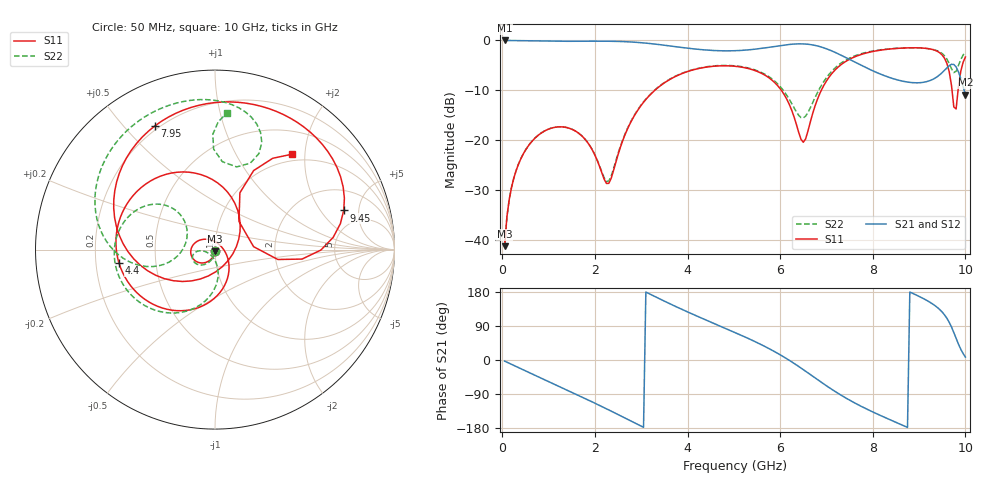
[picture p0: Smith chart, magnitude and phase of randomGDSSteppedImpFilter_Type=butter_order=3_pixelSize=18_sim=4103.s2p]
! freq	dB(S11)	phase(S11)	dB(S12)	phase(S12)
!  dB(S21)	phase(S21)	dB(S22)	phase(S22)
!S-par simulation data
#  GHz  S  DB  R 50
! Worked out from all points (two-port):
!   200 points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, 50 MHz to 10 GHz, reference 50 ohm
!   highest |S21| = 0.00 dB at 50 MHz (marker M1); lowest = -10.8 dB at 10 GHz (marker M2)
!   |S21| within 3 dB of the highest: start of sweep to 7.325 GHz
!   lowest |S11| = -41.2 dB at 50 MHz (marker M3), VSWR 1.02, Z = 50 - j0.869 ohm
!   |S11| at or under -10 dB: start of sweep to 3.292 GHz; 6.026 GHz to 6.889 GHz (862.9 MHz wide, 13.4 % of centre); 9.711 GHz to 9.841 GHz (130 MHz wide, 1.33 % of centre)
!   |S22| runs from -41.2 to -1.5 dB; largest |S21 - S12| = 0
!   S11 on the Smith chart (normalised r, x): 50 MHz: 1.00, -0.02; 4.4 GHz: 0.30, -0.06; 7.95 GHz: 0.18, +0.61; 9.45 GHz: 3.43, +3.42; 10 GHz: 0.88, +1.74
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0.05  -41.22 -91.6  -0.00 -2.9  -0.00 -2.9  -41.21 -91.2
0.2  -29.41 -102.5  -0.02 -11.5  -0.02 -11.5  -29.40 -100.3
0.55  -21.28 -124.9  -0.07 -31.5  -0.07 -31.5  -21.27 -119.0
1.15  -17.38 -163.3  -0.16 -65.4  -0.16 -65.4  -17.37 -148.8
1.75  -19.43 153.1  -0.16 -99.5  -0.16 -99.5  -19.41 -173.0
2.3  -28.63 37.3  -0.16 -131.8  -0.16 -131.8  -28.15 -122.0
2.8  -15.92 -62.4  -0.32 -162.3  -0.32 -162.3  -15.82 -84.5
3.4  -9.17 -108.8  -0.84 161.2  -0.84 161.2  -9.10 -110.2
4.4  -5.35 -171.9  -1.92 105.4  -1.92 105.4  -5.29 -157.3
5.05  -5.20 149.3  -2.05 71.2  -2.05 71.2  -5.11 174.4
5.6  -6.60 112.4  -1.59 40.0  -1.59 40.0  -6.44 150.9
6.1  -11.05 66.7  -0.91 6.5  -0.91 6.5  -10.41 134.8
6.5  -20.40 -39.6  -0.70 -25.4  -0.70 -25.4  -15.52 167.5
6.7  -14.71 -116.8  -0.90 -42.6  -0.90 -42.6  -12.52 -166.8
7.35  -4.62 162.2  -3.12 -95.4  -3.12 -95.4  -4.33 175.5
7.95  -2.31 115.9  -5.88 -134.2  -5.88 -134.2  -2.20 145.3
8.35  -1.73 90.2  -7.39 -156.4  -7.39 -156.4  -1.69 127.0
8.95  -1.48 54.0  -8.49 170.9  -8.49 170.9  -1.48 100.3
9.45  -2.50 16.9  -6.85 132.7  -6.85 132.7  -2.32 74.6
9.65  -6.24 -6.2  -5.06 99.7  -5.06 99.7  -4.61 65.4
9.8  -13.72 49.6  -5.31 57.0  -5.31 57.0  -6.17 85.2
10  -3.32 51.1  -10.85 7.8  -10.85 7.8  -2.33 85.0
